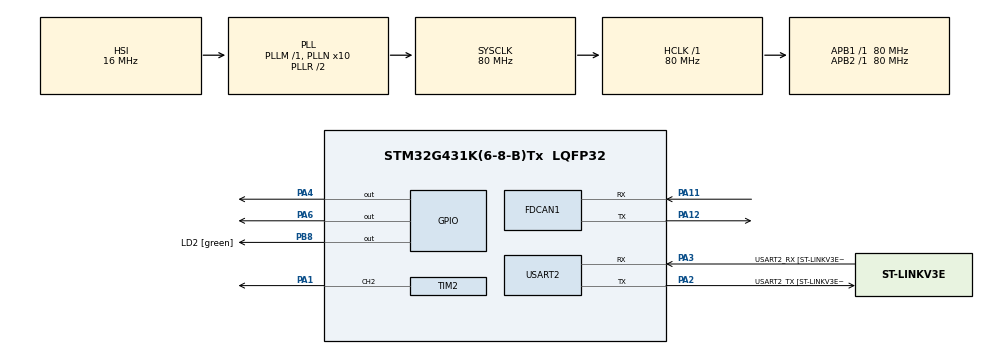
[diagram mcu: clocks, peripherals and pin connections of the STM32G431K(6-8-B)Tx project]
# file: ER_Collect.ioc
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FDCAN1.CalculateBaudRateNominal=1000000
FDCAN1.CalculateTimeBitNominal=1000
FDCAN1.CalculateTimeQuantumNominal=62.5
FDCAN1.DataPrescaler=2
FDCAN1.DataSyncJumpWidth=2
FDCAN1.DataTimeSeg1=10
FDCAN1.DataTimeSeg2=9
FDCAN1.FrameFormat=FDCAN_FRAME_FD_NO_BRS
FDCAN1.NominalPrescaler=5
FDCAN1.NominalSyncJumpWidth=2
FDCAN1.NominalTimeSeg1=13
FDCAN1.StdFiltersNbr=1
Mcu.Family=STM32G4
Mcu.Name=STM32G431K(6-8-B)Tx
Mcu.Package=LQFP32
NVIC.FDCAN1_IT0_IRQn=true\:0\:0\:false\:false\:true\:true\:true\:true
NVIC.PriorityGroup=NVIC_PRIORITYGROUP_4
PA1.Signal=S_TIM2_CH2
PA11.Mode=FDCAN_Activate
PA11.Signal=FDCAN1_RX
PA12.Mode=FDCAN_Activate
PA12.Signal=FDCAN1_TX
PA13.GPIO_Label=T_SWDIO
PA13.Mode=Serial_Wire
PA13.Signal=SYS_JTMS-SWDIO
PA14.GPIO_Label=T_SWCLK
PA14.Mode=Serial_Wire
PA14.Signal=SYS_JTCK-SWCLK
PA2.GPIO_Label=USART2_TX [ST-LINKV3E_VCP_RX]
PA2.Mode=Asynchronous
PA2.Signal=USART2_TX
PA3.GPIO_Label=USART2_RX [ST-LINKV3E_VCP_TX]
PA3.Mode=Asynchronous
PA3.Signal=USART2_RX
PA4.Signal=GPIO_Output
PA6.Signal=GPIO_Output
PB8-BOOT0.GPIO_Label=LD2 [green]
PB8-BOOT0.Signal=GPIO_Output
ProjectManager.HeapSize=0x200
ProjectManager.StackSize=0x400
ProjectManager.TargetToolchain=STM32CubeIDE
RCC.ADC12Freq_Value=80000000
RCC.AHBFreq_Value=80000000
RCC.APB1Freq_Value=80000000
RCC.APB1TimFreq_Value=80000000
RCC.APB2Freq_Value=80000000
RCC.APB2TimFreq_Value=80000000
RCC.CortexFreq_Value=80000000
RCC.EXTERNAL_CLOCK_VALUE=12288000
RCC.HCLKFreq_Value=80000000
RCC.HSE_VALUE=8000000
RCC.HSI48_VALUE=48000000
RCC.HSI_VALUE=16000000
RCC.LSE_VALUE=32768
RCC.PLLN=10
RCC.SYSCLKFreq_VALUE=80000000
RCC.SYSCLKSource=RCC_SYSCLKSOURCE_PLLCLK
RCC.USBFreq_Value=80000000
RCC.VCOOutputFreq_Value=160000000
SH.S_TIM2_CH2.0=TIM2_CH2,PWM Generation2 CH2
TIM2.Channel-PWM\ Generation2\ CH2=TIM_CHANNEL_2
TIM2.PeriodNoDither=19999
TIM2.Prescaler=79
USART2.VirtualMode-Asynchronous=VM_ASYNC
USART2.WordLength=WORDLENGTH_8B
VP_TIM2_VS_ClockSourceINT.Mode=Internal
board=NUCLEO-G431KB

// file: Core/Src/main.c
/* USER CODE BEGIN Header */
/**
  ******************************************************************************
  * @file           : main.c
  * @brief          : Main program body
  ******************************************************************************
  * @attention
  *
  * Copyright (c) 2023 STMicroelectronics.
  * All rights reserved.
  *
  * This software is licensed under terms that can be found in the LICENSE file
  * in the root directory of this software component.
  * If no LICENSE file comes with this software, it is provided AS-IS.
  *
  ******************************************************************************
  */
/* USER CODE END Header */
#include "main.h"

/* USER CODE BEGIN PM */
#define DmSec 300

/* USER CODE END PM */

FDCAN_HandleTypeDef hfdcan1;

TIM_HandleTypeDef htim2;

UART_HandleTypeDef huart2;

/* USER CODE BEGIN PV */
FDCAN_TxHeaderTypeDef TxHeader;
FDCAN_RxHeaderTypeDef RxHeader;
FDCAN_FilterTypeDef sFilterConfig;

uint8_t TxData[1];
uint8_t RxData[4];
uint32_t TxMailbox;
/* USER CODE END PV */

void SystemClock_Config(void);
static void MX_GPIO_Init(void);
static void MX_USART2_UART_Init(void);
static void MX_FDCAN1_Init(void);
static void MX_TIM2_Init(void);

/* USER CODE BEGIN 0 */
void CylN(){
	HAL_GPIO_WritePin(GPIOA, GPIO_PIN_6, GPIO_PIN_RESET);
	HAL_GPIO_WritePin(GPIOA, GPIO_PIN_4, GPIO_PIN_RESET);
}
void CylPush(){
	HAL_GPIO_WritePin(GPIOA, GPIO_PIN_6, GPIO_PIN_SET);
	HAL_GPIO_WritePin(GPIOA, GPIO_PIN_4, GPIO_PIN_RESET);

	HAL_Delay(DmSec);

	CylN();
}

void CylPull(){
	HAL_GPIO_WritePin(GPIOA, GPIO_PIN_6, GPIO_PIN_RESET);
	HAL_GPIO_WritePin(GPIOA, GPIO_PIN_4, GPIO_PIN_SET);

	HAL_Delay(DmSec);

	CylN();
}

//Drive servo to target angle
void ServoDrive(int degree){

	uint16_t PWidth = 1000 + degree * 1000 / 180;/*
	if(PWidth > 2000)PWidth = 2000;
	else if(PWidth < 500)PWidth = 500;*/
	__HAL_TIM_SET_COMPARE(&htim2, TIM_CHANNEL_2, PWidth);
}

int collect_flag = 0;
int push_flag = 0;
/* USER CODE END 0 */

int main(void)
{

  /* MCU Configuration--------------------------------------------------------*/

  /* Reset of all peripherals, Initializes the Flash interface and the Systick. */
  HAL_Init();

  /* Configure the system clock */
  SystemClock_Config();

  /* Initialize all configured peripherals */
  MX_GPIO_Init();
  MX_USART2_UART_Init();
  MX_FDCAN1_Init();
  MX_TIM2_Init();
  /* USER CODE BEGIN 2 */
    TxHeader.Identifier = 0x517;
    TxHeader.IdType = FDCAN_STANDARD_ID;
    TxHeader.TxFrameType = FDCAN_DATA_FRAME;
    TxHeader.DataLength = FDCAN_DLC_BYTES_1;
    TxHeader.ErrorStateIndicator = FDCAN_ESI_ACTIVE;
    TxHeader.BitRateSwitch = FDCAN_BRS_ON;
    TxHeader.FDFormat = FDCAN_FD_CAN;
    TxHeader.TxEventFifoControl = FDCAN_NO_TX_EVENTS;
    TxHeader.MessageMarker = 0;

    FDCAN_FilterTypeDef sFilterConfig;
    sFilterConfig.IdType = FDCAN_STANDARD_ID;
    sFilterConfig.FilterIndex = 0;
    sFilterConfig.FilterType = FDCAN_FILTER_DUAL;
    sFilterConfig.FilterConfig = FDCAN_FILTER_TO_RXFIFO0;
    sFilterConfig.FilterID1 = 0x323;
    sFilterConfig.FilterID2 = 0x321;

  /* USER CODE END 2 */

  /* Infinite loop */
  /* USER CODE BEGIN WHILE */
  while (1)
  {
      if (collect_flag == 1){
          //todo collecting ring

          collect_flag = 0;
      }
      if (push_flag == 1){
          //todo pushing ring

          push_flag = 0;
      }
    /* USER CODE END WHILE */

  }
}

void SystemClock_Config(void)
{
  RCC_OscInitTypeDef RCC_OscInitStruct = {0};
  RCC_ClkInitTypeDef RCC_ClkInitStruct = {0};

  /** Configure the main internal regulator output voltage
  */
  HAL_PWREx_ControlVoltageScaling(PWR_REGULATOR_VOLTAGE_SCALE1);

  /** Initializes the RCC Oscillators according to the specified parameters
  * in the RCC_OscInitTypeDef structure.
  */
  RCC_OscInitStruct.OscillatorType = RCC_OSCILLATORTYPE_HSI;
  RCC_OscInitStruct.HSIState = RCC_HSI_ON;
  RCC_OscInitStruct.HSICalibrationValue = RCC_HSICALIBRATION_DEFAULT;
  RCC_OscInitStruct.PLL.PLLState = RCC_PLL_ON;
  RCC_OscInitStruct.PLL.PLLSource = RCC_PLLSOURCE_HSI;
  RCC_OscInitStruct.PLL.PLLM = RCC_PLLM_DIV1;
  RCC_OscInitStruct.PLL.PLLN = 10;
  RCC_OscInitStruct.PLL.PLLP = RCC_PLLP_DIV2;
  RCC_OscInitStruct.PLL.PLLQ = RCC_PLLQ_DIV2;
  RCC_OscInitStruct.PLL.PLLR = RCC_PLLR_DIV2;
  if (HAL_RCC_OscConfig(&RCC_OscInitStruct) != HAL_OK)
  {
    Error_Handler();
  }

  /** Initializes the CPU, AHB and APB buses clocks
  */
  RCC_ClkInitStruct.ClockType = RCC_CLOCKTYPE_HCLK|RCC_CLOCKTYPE_SYSCLK
                              |RCC_CLOCKTYPE_PCLK1|RCC_CLOCKTYPE_PCLK2;
  RCC_ClkInitStruct.SYSCLKSource = RCC_SYSCLKSOURCE_PLLCLK;
  RCC_ClkInitStruct.AHBCLKDivider = RCC_SYSCLK_DIV1;
  RCC_ClkInitStruct.APB1CLKDivider = RCC_HCLK_DIV1;
  RCC_ClkInitStruct.APB2CLKDivider = RCC_HCLK_DIV1;

  if (HAL_RCC_ClockConfig(&RCC_ClkInitStruct, FLASH_LATENCY_2) != HAL_OK)
  {
    Error_Handler();
  }
}

static void MX_FDCAN1_Init(void)
{

  hfdcan1.Instance = FDCAN1;
  hfdcan1.Init.ClockDivider = FDCAN_CLOCK_DIV1;
  hfdcan1.Init.FrameFormat = FDCAN_FRAME_FD_NO_BRS;
  hfdcan1.Init.Mode = FDCAN_MODE_NORMAL;
  hfdcan1.Init.AutoRetransmission = DISABLE;
  hfdcan1.Init.TransmitPause = DISABLE;
  hfdcan1.Init.ProtocolException = DISABLE;
  hfdcan1.Init.NominalPrescaler = 5;
  hfdcan1.Init.NominalSyncJumpWidth = 2;
  hfdcan1.Init.NominalTimeSeg1 = 13;
  hfdcan1.Init.NominalTimeSeg2 = 2;
  hfdcan1.Init.DataPrescaler = 2;
  hfdcan1.Init.DataSyncJumpWidth = 2;
  hfdcan1.Init.DataTimeSeg1 = 10;
  hfdcan1.Init.DataTimeSeg2 = 9;
  hfdcan1.Init.StdFiltersNbr = 1;
  hfdcan1.Init.ExtFiltersNbr = 0;
  hfdcan1.Init.TxFifoQueueMode = FDCAN_TX_FIFO_OPERATION;
  if (HAL_FDCAN_Init(&hfdcan1) != HAL_OK)
  {
    Error_Handler();
  }

}

static void MX_TIM2_Init(void)
{

  TIM_ClockConfigTypeDef sClockSourceConfig = {0};
  TIM_MasterConfigTypeDef sMasterConfig = {0};
  TIM_OC_InitTypeDef sConfigOC = {0};

  htim2.Instance = TIM2;
  htim2.Init.Prescaler = 79;
  htim2.Init.CounterMode = TIM_COUNTERMODE_UP;
  htim2.Init.Period = 19999;
  htim2.Init.ClockDivision = TIM_CLOCKDIVISION_DIV1;
  htim2.Init.AutoReloadPreload = TIM_AUTORELOAD_PRELOAD_DISABLE;
  if (HAL_TIM_Base_Init(&htim2) != HAL_OK)
  {
    Error_Handler();
  }
  sClockSourceConfig.ClockSource = TIM_CLOCKSOURCE_INTERNAL;
  if (HAL_TIM_ConfigClockSource(&htim2, &sClockSourceConfig) != HAL_OK)
  {
    Error_Handler();
  }
  if (HAL_TIM_PWM_Init(&htim2) != HAL_OK)
  {
    Error_Handler();
  }
  sMasterConfig.MasterOutputTrigger = TIM_TRGO_RESET;
  sMasterConfig.MasterSlaveMode = TIM_MASTERSLAVEMODE_DISABLE;
  if (HAL_TIMEx_MasterConfigSynchronization(&htim2, &sMasterConfig) != HAL_OK)
  {
    Error_Handler();
  }
  sConfigOC.OCMode = TIM_OCMODE_PWM1;
  sConfigOC.Pulse = 0;
  sConfigOC.OCPolarity = TIM_OCPOLARITY_HIGH;
  sConfigOC.OCFastMode = TIM_OCFAST_DISABLE;
  if (HAL_TIM_PWM_ConfigChannel(&htim2, &sConfigOC, TIM_CHANNEL_2) != HAL_OK)
  {
    Error_Handler();
  }
  /* USER CODE BEGIN TIM2_Init 2 */
  HAL_TIM_PWM_Start(&htim2, TIM_CHANNEL_2);
  /* USER CODE END TIM2_Init 2 */
  HAL_TIM_MspPostInit(&htim2);

}

static void MX_USART2_UART_Init(void)
{

  huart2.Instance = USART2;
  huart2.Init.BaudRate = 115200;
  huart2.Init.WordLength = UART_WORDLENGTH_8B;
  huart2.Init.StopBits = UART_STOPBITS_1;
  huart2.Init.Parity = UART_PARITY_NONE;
  huart2.Init.Mode = UART_MODE_TX_RX;
  huart2.Init.HwFlowCtl = UART_HWCONTROL_NONE;
  huart2.Init.OverSampling = UART_OVERSAMPLING_16;
  huart2.Init.OneBitSampling = UART_ONE_BIT_SAMPLE_DISABLE;
  huart2.Init.ClockPrescaler = UART_PRESCALER_DIV1;
  huart2.AdvancedInit.AdvFeatureInit = UART_ADVFEATURE_NO_INIT;
  if (HAL_UART_Init(&huart2) != HAL_OK)
  {
    Error_Handler();
  }
  if (HAL_UARTEx_SetTxFifoThreshold(&huart2, UART_TXFIFO_THRESHOLD_1_8) != HAL_OK)
  {
    Error_Handler();
  }
  if (HAL_UARTEx_SetRxFifoThreshold(&huart2, UART_RXFIFO_THRESHOLD_1_8) != HAL_OK)
  {
    Error_Handler();
  }
  if (HAL_UARTEx_DisableFifoMode(&huart2) != HAL_OK)
  {
    Error_Handler();
  }

}

static void MX_GPIO_Init(void)
{
  GPIO_InitTypeDef GPIO_InitStruct = {0};

  /* GPIO Ports Clock Enable */
  __HAL_RCC_GPIOA_CLK_ENABLE();
  __HAL_RCC_GPIOB_CLK_ENABLE();

  /*Configure GPIO pin Output Level */
  HAL_GPIO_WritePin(GPIOA, GPIO_PIN_4|GPIO_PIN_6, GPIO_PIN_RESET);

  /*Configure GPIO pin Output Level */
  HAL_GPIO_WritePin(LD2_GPIO_Port, LD2_Pin, GPIO_PIN_RESET);

  /*Configure GPIO pins : PA4 PA6 */
  GPIO_InitStruct.Pin = GPIO_PIN_4|GPIO_PIN_6;
  GPIO_InitStruct.Mode = GPIO_MODE_OUTPUT_PP;
  GPIO_InitStruct.Pull = GPIO_NOPULL;
  GPIO_InitStruct.Speed = GPIO_SPEED_FREQ_LOW;
  HAL_GPIO_Init(GPIOA, &GPIO_InitStruct);

  /*Configure GPIO pin : LD2_Pin */
  GPIO_InitStruct.Pin = LD2_Pin;
  GPIO_InitStruct.Mode = GPIO_MODE_OUTPUT_PP;
  GPIO_InitStruct.Pull = GPIO_NOPULL;
  GPIO_InitStruct.Speed = GPIO_SPEED_FREQ_LOW;
  HAL_GPIO_Init(LD2_GPIO_Port, &GPIO_InitStruct);

}

/* USER CODE BEGIN 4 */
void HAL_FDCAN_RxFifo0Callback(FDCAN_HandleTypeDef *hfdcan1, uint32_t RxFifo0ITs) {
    if ((RxFifo0ITs & FDCAN_IT_RX_FIFO0_NEW_MESSAGE) != RESET) {
        /* Retrieve Rx messages from RX FIFO0 */
        if (HAL_FDCAN_GetRxMessage(hfdcan1, FDCAN_RX_FIFO0, &RxHeader, RxData) != HAL_OK) {
            Error_Handler();
        }

        if ((RxHeader.Identifier == 0x321)) {
            collect_flag = 1;
        }
        if ((RxHeader.Identifier == 0x323)) {
            push_flag = 1;
        }
    }
}
/* USER CODE END 4 */

void Error_Handler(void)
{
  __disable_irq();
  while (1)
  {
  }
}
